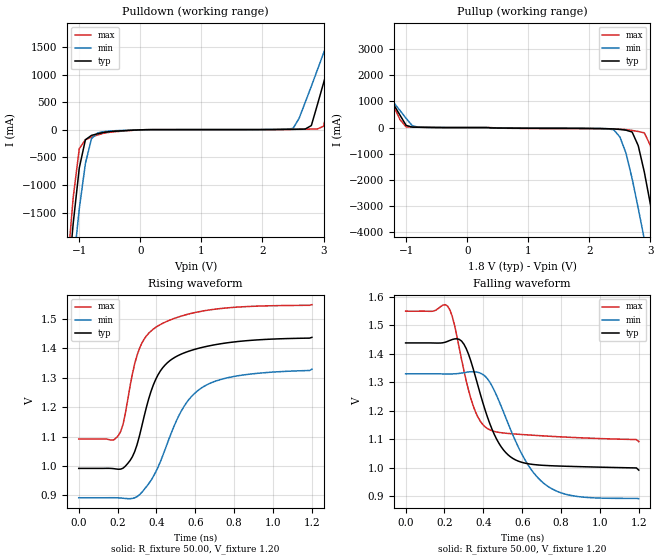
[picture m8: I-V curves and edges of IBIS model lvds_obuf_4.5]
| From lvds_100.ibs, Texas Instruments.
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|   Model lvds_obuf_4.5
[Model]   lvds_obuf_4.5
Model_type   Output
Polarity   Non-Inverting
Vmeas =   1.2000V
C_comp   4.00pF   4.00pF   4.00pF
[Temperature Range]   25.00   0.12k   -40.00
[Voltage Range]   1.80V   1.65V   1.95V
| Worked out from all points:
|   slope of the pulldown table from 0 to 0.27 V, typ, clamps not added: 65.9 ohm
|   slope of the pullup table from 0 to 0.27 V, typ, clamps not added: 20 kohm
|   rising waveform, R_fixture 50.00, V_fixture 1.20: 20-80 % time 148ps typ, 192ps min, 128ps max; typ from 0.992 V to 1.44 V
|   falling waveform, R_fixture 50.00, V_fixture 1.20: 20-80 % time 138ps typ, 187ps min, 103ps max; typ from 1.44 V to 0.992 V
[Pulldown]
| voltage   I(typ)   I(min)   I(max)
-1.8V     -11.2A     -11.5A     -11.55A
-1.2V     -2.94A     -3.65A     -2.55A
-1.1V     -1.7A      -2.49A     -1.23A
-1V       -690mA     -1.43A     -340mA
-900mV    -180mA     -610mA     -180mA
-800mV    -100mA     -160mA     -130mA
2.5V      10.15mA    25.82mA    7.92mA
2.8V      77.71mA    790mA      13.67mA
3V        850mA      1.39A      64.81mA
3.2V      1.64A      2A         1.04A
3.4V      2.43A      2.87A      2.04A
3.6V      3.25A      7.06A      3.06A
[Pullup]
| voltage   I(typ)   I(min)   I(max)
-1.8V     3.24A      3.32A      3.83A
-1.6V     2.43A      2.15A      2.81A
-1V       81.8mA     350mA      27.42mA
2.4V      -52.98mA   -86.12mA   -54.31mA
2.6V      -100mA     -980mA     -78.29mA
2.7V      -170mA     -1.95A     -110mA
2.9V      -1.7A      -4.27A     -200mA
3V        -2.94A     -5.5A      -690mA
3.1V      -4.27A     -6.76A     -1.86A
3.2V      -5.63A     -8.03A     -3.26A
3.3V      -7.01A     -9.33A     -4.73A
3.6V      -11.25A    -15.13A    -9.29A
[Ramp]
| variable   typ   min   max
dV/dt_r   0.66/0.16n   0.47/0.22n   0.79/0.12n
dV/dt_f   0.18/0.11n   0.17/0.17n   0.21/90.99p
R_load = 50.00
[Rising Waveform]
R_fixture = 50.00
V_fixture = 1.20
V_fixture_min = 1.10
V_fixture_max = 1.30
| time   V(typ)   V(min)   V(max)
0s        991.5mV    891.6mV    1.091V
204ps     988.6mV    891.2mV    1.103V
228ps     992.2mV    890mV      1.142V
264ps     1.018V     888.5mV    1.271V
312ps     1.101V     901.5mV    1.399V
360ps     1.228V     939.4mV    1.451V
408ps     1.31V      995.7mV    1.476V
528ps     1.381V     1.187V     1.51V
636ps     1.403V     1.267V     1.527V
1.2ns     1.437V     1.329V     1.549V
[Falling Waveform]
R_fixture = 50.00
V_fixture = 1.20
V_fixture_min = 1.10
V_fixture_max = 1.30
| time   V(typ)   V(min)   V(max)
0s        1.437V     1.329V     1.549V
216ps     1.443V     1.329V     1.566V
252ps     1.451V     1.329V     1.499V
312ps     1.418V     1.335V     1.304V
372ps     1.288V     1.334V     1.178V
432ps     1.157V     1.301V     1.133V
540ps     1.038V     1.134V     1.119V
624ps     1.015V     1.017V     1.115V
720ps     1.008V     940.7mV    1.111V
1.2ns     991.5mV    891.6mV    1.091V
